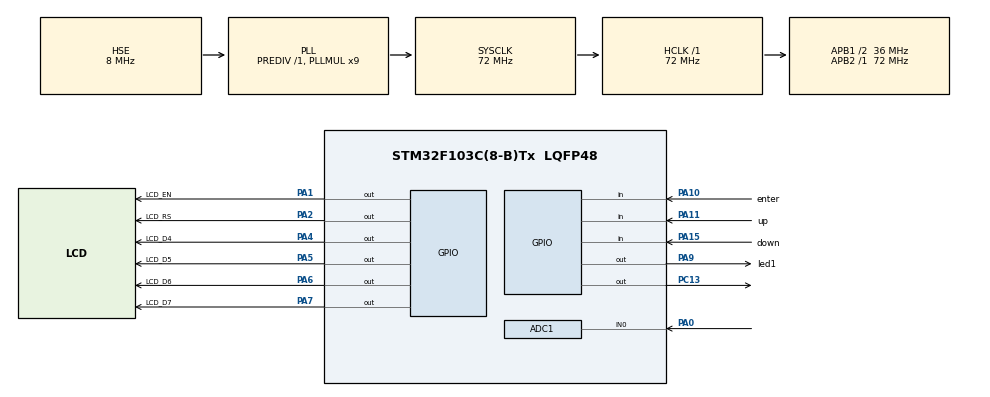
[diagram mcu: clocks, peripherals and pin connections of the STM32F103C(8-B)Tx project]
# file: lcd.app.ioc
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ADC1.Channel-0\#ChannelRegularConversion=ADC_CHANNEL_0
ADC1.ContinuousConvMode=ENABLE
ADC1.NbrOfConversionFlag=1
ADC1.Rank-0\#ChannelRegularConversion=1
ADC1.SamplingTime-0\#ChannelRegularConversion=ADC_SAMPLETIME_1CYCLE_5
ADC1.master=1
Mcu.Family=STM32F1
Mcu.Name=STM32F103C(8-B)Tx
Mcu.Package=LQFP48
NVIC.PriorityGroup=NVIC_PRIORITYGROUP_4
NVIC.TIM1_UP_IRQn=true\:0\:0\:false\:false\:true\:true\:true
PA0-WKUP.Signal=ADCx_IN0
PA1.GPIO_Label=LCD_EN
PA1.Signal=GPIO_Output
PA10.GPIO_Label=enter
PA10.GPIO_PuPd=GPIO_PULLDOWN
PA10.Signal=GPIO_Input
PA11.GPIO_Label=up
PA11.GPIO_PuPd=GPIO_PULLDOWN
PA11.Signal=GPIO_Input
PA13.Mode=Serial_Wire
PA13.Signal=SYS_JTMS-SWDIO
PA14.Mode=Serial_Wire
PA14.Signal=SYS_JTCK-SWCLK
PA15.GPIO_Label=down
PA15.GPIO_PuPd=GPIO_PULLDOWN
PA15.Signal=GPIO_Input
PA2.GPIO_Label=LCD_RS
PA2.Signal=GPIO_Output
PA4.GPIO_Label=LCD_D4
PA4.Signal=GPIO_Output
PA5.GPIO_Label=LCD_D5
PA5.Signal=GPIO_Output
PA6.GPIO_Label=LCD_D6
PA6.Signal=GPIO_Output
PA7.GPIO_Label=LCD_D7
PA7.Signal=GPIO_Output
PA9.GPIO_Label=led1
PA9.Signal=GPIO_Output
PC13-TAMPER-RTC.Signal=GPIO_Output
PD0-OSC_IN.Mode=HSE-External-Oscillator
PD0-OSC_IN.Signal=RCC_OSC_IN
PD1-OSC_OUT.Mode=HSE-External-Oscillator
PD1-OSC_OUT.Signal=RCC_OSC_OUT
ProjectManager.HeapSize=0x200
ProjectManager.StackSize=0x400
ProjectManager.TargetToolchain=STM32CubeIDE
RCC.ADCPresc=RCC_ADCPCLK2_DIV6
RCC.AHBFreq_Value=72000000
RCC.APB1CLKDivider=RCC_HCLK_DIV2
RCC.APB1Freq_Value=36000000
RCC.APB1TimFreq_Value=72000000
RCC.APB2Freq_Value=72000000
RCC.APB2TimFreq_Value=72000000
RCC.HCLKFreq_Value=72000000
RCC.PLLMUL=RCC_PLL_MUL9
RCC.PLLSourceVirtual=RCC_PLLSOURCE_HSE
RCC.SYSCLKFreq_VALUE=72000000
RCC.SYSCLKSource=RCC_SYSCLKSOURCE_PLLCLK
RCC.USBFreq_Value=72000000
SH.ADCx_IN0.0=ADC1_IN0,IN0
TIM1.Period=9999
TIM1.Prescaler=3599
VP_TIM1_VS_ClockSourceINT.Mode=Internal
board=custom

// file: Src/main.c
/* USER CODE BEGIN Header */
/**
  ******************************************************************************
  * @file           : main.c
  * @brief          : Main program body
  ******************************************************************************
  * @attention
  *
  * <h2><center>&copy; Copyright (c) 2019 STMicroelectronics.
  * All rights reserved.</center></h2>
  *
  * This software component is licensed by ST under BSD 3-Clause license,
  * the "License"; You may not use this file except in compliance with the
  * License. You may obtain a copy of the License at:
  *                        opensource.org/licenses/BSD-3-Clause
  *
  ******************************************************************************
  */
/* USER CODE END Header */

#include "main.h"

/* USER CODE BEGIN Includes */
#include "i2c-lcd.h"
#include "stm32f1xx_hal_flash.h"

/* USER CODE END Includes */

ADC_HandleTypeDef hadc1;

TIM_HandleTypeDef htim1;

void SystemClock_Config(void);
static void MX_GPIO_Init(void);
static void MX_ADC1_Init(void);
static void MX_TIM1_Init(void);
/* USER CODE BEGIN PFP */
#include "lcd.h"

uint32_t Flash_Read(uint32_t Flash_Address);
void Flash_Write(uint32_t Flash_Address, uint32_t Flash_Data);
/* USER CODE END PFP */

/* USER CODE BEGIN 0 */
uint32_t ticksNextBlink = 0;
uint32_t ticksForBlink = 1000;

int8_t enter(){ return HAL_GPIO_ReadPin(GPIOA, GPIO_PIN_10); }
int8_t up(){ return HAL_GPIO_ReadPin(GPIOA, GPIO_PIN_11); }
int8_t down(){ return HAL_GPIO_ReadPin(GPIOA, GPIO_PIN_12); }

uint32_t adc2 = 0;
uint32_t adc3 = 0;
char adc2deger[16] = "  ";
char adc3char1[16] = "  ";
char adc3char2[16] = "  ";
char adc3char3[16] = "  ";
char adc3char4[16] = "  ";
char sondeger[16] = "  ";
uint32_t ledim = 0;
uint32_t stabilledim = 0;
uint16_t bekleme[3];
uint16_t deger = 0;

uint32_t flashoku;
/* USER CODE END 0 */

int main(void)
{
  /* USER CODE BEGIN 1 */
	uint8_t a = 1;
	uint8_t b = 0;
	uint8_t adc3deger1;
	uint8_t adc3deger2;
	uint8_t adc3deger3;
	uint8_t adc3deger4;
  /* USER CODE END 1 */

  /* MCU Configuration--------------------------------------------------------*/

  /* Reset of all peripherals, Initializes the Flash interface and the Systick. */
  HAL_Init();

  /* Configure the system clock */
  SystemClock_Config();

  /* Initialize all configured peripherals */
  MX_GPIO_Init();
  MX_ADC1_Init();
  MX_TIM1_Init();
  /* USER CODE BEGIN 2 */

  //Flash_Write(0x08003400, deger);
  HAL_TIM_Base_Start_IT(&htim1);

  lcd_init();

  HAL_ADC_Start(&hadc1);
  HAL_Delay(50);

  lcd_printf(1,1, " ALVEMSIS A.S. ");
  HAL_Delay(500);

  /* USER CODE END 2 */

  /* Infinite loop */
  /* USER CODE BEGIN WHILE */
  while (1)
  {
	  //flashoku = Flash_Read(0x08003400);

	  /*if (HAL_GetTick() > ticksNextBlink)
	  	  {
	  	      ticksNextBlink = HAL_GetTick() + ticksForBlink;
	  	  	  HAL_GPIO_WritePin(GPIOC, GPIO_PIN_13, !HAL_GPIO_ReadPin(GPIOC, GPIO_PIN_13));
	  	  }*/

	  HAL_Delay(2);

	      if(HAL_GPIO_ReadPin(GPIOA, GPIO_PIN_15) != 0)  //down
	      {
	      	a++;

	      	if(a == 7)//ana menü alt
	      	{
	      		a = 6;
	      	}
	      	if(a == 23)//led ayar alt
	      	{
	      		a = 22;
	      	}
	      	if(a == 52)//led ayar üst
	      	{
	      		a = 51;
	      	}
	      	if(a == 86)//led el ayar üst
	      	{
	      		a = 85;
	      	}
	      }

	      if(HAL_GPIO_ReadPin(GPIOA, GPIO_PIN_11))  //up
	      {
	      	a--;

	      	if(a == 0)//ana menü üst
	      	{
	      		a = 1;
	      	}
	      	if(a == 19)//led ayar üst
	      	{
	      		a = 20;
	      	}
	      	if(a == 49)//led ayar üst
	      	{
	      		a = 50;
	      	}
	      	if(a == 79)//led el ayar üst
	      	{
	      		a = 80;
	      	}

	      }

      	  if(HAL_GPIO_ReadPin(GPIOA, GPIO_PIN_10))  //enter
      	  {
      		  if(a == 1)
      		  {
      			  a = 20;  //1.alt menü
      		  }
      		  if(a == 2)
      		  {
      			  a = 50;  //2.alt menü
      		  }
      		  if(a == 3)
      		  {
      			  a = 80;  //3.alt menü
      		  }
      		  if(a == 4)
      		  {
      			  //a = 110; //4.alt menü
      		  }
      		  if(a == 5)
      		  {
      			  //a = 140; //5.alt menü
      		  }
      		  if(a == 6)
      		  {
      			  //a = 170; //6.alt menü
      		  }

      	  }

/*---------------------------ana menü---------------------------*/

	      	  if(a == 0)//ana menü üst
	      	  {
	      		  a = 1;
	      	  }

	      	  if(a == 1)
			  {
				  lcd_printf(1,1, ">1.Led Ayari    ");
				  lcd_printf(2,1, " 2.ADC izle     ");
			  }

			  if(a == 2)
			  {
				  lcd_printf(1,1, " 1.Led Ayari    ");
				  lcd_printf(2,1, ">2.ADC izle     ");
			  }

			  if(a == 3)
			  {
				  lcd_printf(1,1, ">3.El ile ADC   ");
				  lcd_printf(2,1, " 4.Wifi         ");
			  }

			  if(a == 4)
			  {
				  lcd_printf(1,1, " 3.El ile ADC   ");
				  lcd_printf(2,1, ">4.Wifi         ");
			  }

			  if(a == 5)
			  {
				  lcd_printf(1,1, ">5.Genel Ayarlar");
				  lcd_printf(2,1, " 6.İsimler      ");
			  }

			  if(a == 6)
			  {
				  lcd_printf(1,1, " 5.Genel Ayarlar");
				  lcd_printf(2,1, ">6.İsimler      ");
			  }
/*---------------------------ana menü---------------------------*/
/*---------------------------led ayar---------------------------*/
			  if(a == 20)
			  {
				  lcd_printf(1,1,">AC              ");
				  lcd_printf(2,1," KAPAT           ");

				  if(HAL_GPIO_ReadPin(GPIOA, GPIO_PIN_10))
				  {
					  HAL_GPIO_WritePin(GPIOA, GPIO_PIN_9, GPIO_PIN_SET);
				  }
			  }

			  if(a == 21)
			  {
				  lcd_printf(1,1," AC              ");
				  lcd_printf(2,1,">KAPAT           ");

				  if(HAL_GPIO_ReadPin(GPIOA, GPIO_PIN_10))
				  {
					  HAL_GPIO_WritePin(GPIOA, GPIO_PIN_9, GPIO_PIN_RESET);
					  b = 0;
				  }
			  }

			  if(a == 22)
			  {
				  lcd_printf(1,1,">GERI              ");
				  lcd_printf(2,1,"                   ");

				  if(HAL_GPIO_ReadPin(GPIOA, GPIO_PIN_10))
				  {
					  a = 0;
				  }
			  }

			  if(b == 2) //led yanma süresi stabil kalsın diye
			  {
				  if (HAL_GetTick() > ledim)
				  	  {
				  	      ledim = HAL_GetTick() + adc2;
				  	  	  HAL_GPIO_WritePin(GPIOA, GPIO_PIN_9, !HAL_GPIO_ReadPin(GPIOA, GPIO_PIN_9));
				  	  }
			  }

			  if(b == 3) //led el ile yanma süresi stabil kalsın diye
			  {
				  if (HAL_GetTick() > ledim)
				  	  {
				  	      ledim = HAL_GetTick() + deger;
				  	  	  HAL_GPIO_WritePin(GPIOA, GPIO_PIN_9, !HAL_GPIO_ReadPin(GPIOA, GPIO_PIN_9));
				  	  }
			  }
/*---------------------------led ayar---------------------------*/
/*---------------------------ADC izle---------------------------*/

			  if(a == 50)
			  {
				  adc2 = HAL_ADC_GetValue(&hadc1);

				  sprintf(adc2deger, "%u    ", adc2);

				  lcd_printf(1,1,">ADC Deger:     ");
				  lcd_printf(1,12, adc2deger);
				  lcd_printf(2,1," GERI           ");

					  if(HAL_GPIO_ReadPin(GPIOA, GPIO_PIN_10))
					  {
						  b = 1;

						  if (HAL_GetTick() > ledim)
						  	  {
						  	      ledim = HAL_GetTick() + adc2;
						  	  	  HAL_GPIO_WritePin(GPIOA, GPIO_PIN_9, !HAL_GPIO_ReadPin(GPIOA, GPIO_PIN_9));
						  	  }
					  }
				  b = 2; //led yanma süresi stabil kalsın diye
			  }

			  if(a == 51)
			  {
				  sprintf(adc2deger, "%u    ", adc2);

				  lcd_printf(1,1," ADC Deger:     ");
				  lcd_printf(1,12, adc2deger);
				  lcd_printf(2,1,">GERI           ");

				  if(HAL_GPIO_ReadPin(GPIOA, GPIO_PIN_10))
				  {
					  a = 0;
				  }
			  }
/*---------------------------ADC izle---------------------------*/
/*------------------------ADC el ile Ayar-----------------------*/
			  if(a == 80)
			  {
				  adc2 = HAL_ADC_GetValue(&hadc1);

				  sprintf(adc2deger, "%u    ", adc2);
			  	  lcd_printf(1,1,"ADC Deger Ayar  ");
			  	  lcd_printf(2,11, sondeger);
			  	  lcd_printf(2,1,"OK ");
			  }
			  	  //1. basamak
			  	  if(a == 81)
				  {
					  HAL_GPIO_WritePin(GPIOA, GPIO_PIN_9, GPIO_PIN_RESET);
					  b = 0;
			  		  while(1)
			  		  {
					  adc2 = HAL_ADC_GetValue(&hadc1);

				  	  if(adc2 < 400 && adc2 > 0)
				  	  {
					  	  adc3deger1 = 0;
				  	  }
				  	  if(adc3 > 400 && adc2 < 800)
				  	  {
					  	  adc3deger1 = 1;
				  	  }
				  	  if(adc2 > 800 && adc2 < 1200)
				  	  {
					  	  adc3deger1 = 2;
				  	  }
				  	  if(adc2 > 1200 && adc2 < 1600)
				  	  {
					  	  adc3deger1 = 3;
				  	  }
				  	  if(adc2 > 1600 && adc2 < 2000)
				  	  {
					  	  adc3deger1 = 4;
				  	  }
				  	  if(adc2 > 2000 && adc2 < 2400)
				  	  {
					  	  adc3deger1 = 5;
				  	  }
				  	  if(adc2 > 2400 && adc2 < 2800)
				  	  {
					  	  adc3deger1 = 6;
				  	  }
				  	  if(adc2 > 2800 && adc2 < 3200)
				  	  {
					  	  adc3deger1 = 7;
				  	  }
				  	  if(adc2 > 3200 && adc2 < 3600)
				  	  {
					  	  adc3deger1 = 8;
				  	  }
				  	  if(adc2 > 3600 && adc2 < 4200)
				  	  {
					  	  adc3deger1 = 9;
				  	  }

				  	  sprintf(adc3char1, "%u", adc3deger1);

				  	  bekleme[3] = adc3deger1 * 1000;

				  	  lcd_printf(1,1,"ADC Deger Ayar  ");
				  	  lcd_printf(2,11, adc3char1);
				  	  lcd_printf(2,1,"OK -->  ");
				  	  //lcd_printf(2,12, adc3char1);
				  	  if(HAL_GPIO_ReadPin(GPIOA, GPIO_PIN_15))
				  	  {
				  		  break;
				  	  }
				      if(HAL_GPIO_ReadPin(GPIOA, GPIO_PIN_11))
				  	  {
				  		  break;
				  	  }
			  		  }
				  }

				  //2. basamak
			  	  if(a == 82)
				  {
			  		  while(1)
			  		  {
					  adc2 = HAL_ADC_GetValue(&hadc1);

				  	  if(adc2 < 400 && adc2 > 0)
				  	  {
					  	  adc3deger2 = 0;
				  	  }
				  	  if(adc2 > 400 && adc2 < 800)
				  	  {
					  	  adc3deger2 = 1;
				  	  }
				  	  if(adc2 > 800 && adc2 < 1200)
				  	  {
					  	  adc3deger2 = 2;
				  	  }
				  	  if(adc2 > 1200 && adc2 < 1600)
				  	  {
					  	  adc3deger2 = 3;
				  	  }
				  	  if(adc2 > 1600 && adc2 < 2000)
				  	  {
					  	  adc3deger2 = 4;
				  	  }
				  	  if(adc2 > 2000 && adc2 < 2400)
				  	  {
					  	  adc3deger2 = 5;
				  	  }
				  	  if(adc2 > 2400 && adc2 < 2800)
				  	  {
					  	  adc3deger2 = 6;
				  	  }
				  	  if(adc2 > 2800 && adc2 < 3200)
				  	  {
					  	  adc3deger2 = 7;
				  	  }
				  	  if(adc2 > 3200 && adc2 < 3600)
				  	  {
					  	  adc3deger2 = 8;
				  	  }
				  	  if(adc2 > 3600 && adc2 < 4200)
				  	  {
					  	  adc3deger2 = 9;
				  	  }

				  	  sprintf(adc3char2, "%u", adc3deger2);

				  	  bekleme[2] = adc3deger2 * 100;
				  	  lcd_printf(2,11, adc3char1);
				  	  lcd_printf(1,1,"ADC Deger Ayar  ");
				  	  lcd_printf(2,12, adc3char2);
				  	  lcd_printf(2,1,"OK -->  ");

				  	  if(HAL_GPIO_ReadPin(GPIOA, GPIO_PIN_15))
				  	  {
				  		  break;
				  	  }
				      if(HAL_GPIO_ReadPin(GPIOA, GPIO_PIN_11))
				  	  {
				  		  break;
				  	  }
			  		  }
				  }

				  //3. basamak
			  	  if(a == 83)
				  {
			  		  while(1)
			  		  {
					  adc2 = HAL_ADC_GetValue(&hadc1);

				  	  if(adc2 < 400 && adc2 > 0)
				  	  {
					  	  adc3deger3 = 0;
				  	  }
				  	  if(adc2 > 400 && adc2 < 800)
				  	  {
					  	  adc3deger3 = 1;
				  	  }
				  	  if(adc2 > 800 && adc2 < 1200)
				  	  {
					  	  adc3deger3 = 2;
				  	  }
				  	  if(adc2 > 1200 && adc2 < 1600)
				  	  {
					  	  adc3deger3 = 3;
				  	  }
				  	  if(adc2 > 1600 && adc2 < 2000)
				  	  {
					  	  adc3deger3 = 4;
				  	  }
				  	  if(adc2 > 2000 && adc2 < 2400)
				  	  {
					  	  adc3deger3 = 5;
				  	  }
				  	  if(adc2 > 2400 && adc2 < 2800)
				  	  {
					  	  adc3deger3 = 6;
				  	  }
				  	  if(adc2 > 2800 && adc2 < 3200)
				  	  {
					  	  adc3deger3 = 7;
				  	  }
				  	  if(adc2 > 3200 && adc2 < 3600)
				  	  {
					  	  adc3deger3 = 8;
				  	  }
				  	  if(adc2 > 3600 && adc2 < 4200)
				  	  {
					  	  adc3deger3 = 9;
				  	  }

				  	  sprintf(adc3char3, "%u", adc3deger3);

				  	  bekleme[1] = adc3deger3 * 10;
				  	  lcd_printf(2,11, adc3char1);
				  	  lcd_printf(2,12, adc3char2);
				  	  lcd_printf(1,1,"ADC Deger Ayar  ");
				  	  lcd_printf(2,13, adc3char3);
				  	  lcd_printf(2,1,"OK --> ");

				  	  if(HAL_GPIO_ReadPin(GPIOA, GPIO_PIN_15))
				  	  {
				  		  break;
				  	  }
				      if(HAL_GPIO_ReadPin(GPIOA, GPIO_PIN_11))
				  	  {
				  		  break;
				  	  }
			  		  }
				  }

				  //4. basamak
			  	  if(a == 84)
				  {
			  		  while(1)
			  		  {
					  //a = 93;
					  adc2 = HAL_ADC_GetValue(&hadc1);

				  	  if(adc2 < 400 && adc2 > 0)
				  	  {
					  	  adc3deger4 = 0;
				  	  }
				  	  if(adc2 > 400 && adc2 < 800)
				  	  {
					  	  adc3deger4 = 1;
				  	  }
				  	  if(adc2 > 800 && adc2 < 1200)
				  	  {
					  	  adc3deger4 = 2;
				  	  }
				  	  if(adc2 > 1200 && adc2 < 1600)
				  	  {
					  	  adc3deger4 = 3;
				  	  }
				  	  if(adc2 > 1600 && adc2 < 2000)
				  	  {
					  	  adc3deger4 = 4;
				  	  }
				  	  if(adc2 > 2000 && adc2 < 2400)
				  	  {
					  	  adc3deger4 = 5;
				  	  }
				  	  if(adc2 > 2400 && adc2 < 2800)
				  	  {
					  	  adc3deger4 = 6;
				  	  }
				  	  if(adc2 > 2800 && adc2 < 3200)
				  	  {
					  	  adc3deger4 = 7;
				  	  }
				  	  if(adc2 > 3200 && adc2 < 3600)
				  	  {
					  	  adc3deger4 = 8;
				  	  }
				  	  if(adc2 > 3600 && adc2 < 4200)
				  	  {
					  	  adc3deger4 = 9;
				  	  }

				  	  sprintf(adc3char4, "%u", adc3deger4);

				  	  bekleme[0] = adc3deger4;
				  	  lcd_printf(2,11, adc3char1);
				  	  lcd_printf(2,12, adc3char2);
				  	  lcd_printf(2,13, adc3char3);
				  	  lcd_printf(1,1,"ADC Deger Ayar  ");
				  	  lcd_printf(2,14, adc3char4);
				  	  lcd_printf(2,1,"OK --> ");

				  	  if(HAL_GPIO_ReadPin(GPIOA, GPIO_PIN_15))
				  	  {
				  		  break;
				  	  }
				      if(HAL_GPIO_ReadPin(GPIOA, GPIO_PIN_11))
				  	  {
				  		  break;
				  	  }
			  		  }
				  }
			  	  /*adc3deger1 = 0;
			  	  adc3deger2 = 0;
			  	  adc3deger3 = 0;
			  	  adc3deger4 = 0;*/

				  if(a == 85)
				  {
					  deger = bekleme[0] + bekleme[1] + bekleme[2] + bekleme[3];

				  	  sprintf(sondeger, "%u", deger);

					  lcd_printf(1,1,">GERI           ");
					  lcd_printf(2,1,"                ");
				  	  lcd_printf(2,12, sondeger);

					  b = 3;

					  if (HAL_GetTick() > ledim)
					  	  {
					  	      ledim = HAL_GetTick() + deger;
					  	  	  HAL_GPIO_WritePin(GPIOA, GPIO_PIN_9, !HAL_GPIO_ReadPin(GPIOA, GPIO_PIN_9));
					  	  }

					  if(HAL_GPIO_ReadPin(GPIOA, GPIO_PIN_10))
					  {
						  a = 0;
					  }
				  }

				  }
/*------------------------ADC el ile Ayar-----------------------*/
    /* USER CODE END WHILE */

}

void HAL_TIM_PeriodElapsedCallback(TIM_HandleTypeDef *htim)
{
	if(TIM1 == htim -> Instance)
	{
		HAL_GPIO_TogglePin(GPIOA, GPIO_PIN_9);
	}
}

void SystemClock_Config(void)
{
  RCC_OscInitTypeDef RCC_OscInitStruct = {0};
  RCC_ClkInitTypeDef RCC_ClkInitStruct = {0};
  RCC_PeriphCLKInitTypeDef PeriphClkInit = {0};

  /** Initializes the CPU, AHB and APB busses clocks
  */
  RCC_OscInitStruct.OscillatorType = RCC_OSCILLATORTYPE_HSE;
  RCC_OscInitStruct.HSEState = RCC_HSE_ON;
  RCC_OscInitStruct.HSEPredivValue = RCC_HSE_PREDIV_DIV1;
  RCC_OscInitStruct.HSIState = RCC_HSI_ON;
  RCC_OscInitStruct.PLL.PLLState = RCC_PLL_ON;
  RCC_OscInitStruct.PLL.PLLSource = RCC_PLLSOURCE_HSE;
  RCC_OscInitStruct.PLL.PLLMUL = RCC_PLL_MUL9;
  if (HAL_RCC_OscConfig(&RCC_OscInitStruct) != HAL_OK)
  {
    Error_Handler();
  }
  /** Initializes the CPU, AHB and APB busses clocks
  */
  RCC_ClkInitStruct.ClockType = RCC_CLOCKTYPE_HCLK|RCC_CLOCKTYPE_SYSCLK
                              |RCC_CLOCKTYPE_PCLK1|RCC_CLOCKTYPE_PCLK2;
  RCC_ClkInitStruct.SYSCLKSource = RCC_SYSCLKSOURCE_PLLCLK;
  RCC_ClkInitStruct.AHBCLKDivider = RCC_SYSCLK_DIV1;
  RCC_ClkInitStruct.APB1CLKDivider = RCC_HCLK_DIV2;
  RCC_ClkInitStruct.APB2CLKDivider = RCC_HCLK_DIV1;

  if (HAL_RCC_ClockConfig(&RCC_ClkInitStruct, FLASH_LATENCY_2) != HAL_OK)
  {
    Error_Handler();
  }
  PeriphClkInit.PeriphClockSelection = RCC_PERIPHCLK_ADC;
  PeriphClkInit.AdcClockSelection = RCC_ADCPCLK2_DIV6;
  if (HAL_RCCEx_PeriphCLKConfig(&PeriphClkInit) != HAL_OK)
  {
    Error_Handler();
  }
}

static void MX_ADC1_Init(void)
{

  ADC_ChannelConfTypeDef sConfig = {0};

  /** Common config
  */
  hadc1.Instance = ADC1;
  hadc1.Init.ScanConvMode = ADC_SCAN_DISABLE;
  hadc1.Init.ContinuousConvMode = ENABLE;
  hadc1.Init.DiscontinuousConvMode = DISABLE;
  hadc1.Init.ExternalTrigConv = ADC_SOFTWARE_START;
  hadc1.Init.DataAlign = ADC_DATAALIGN_RIGHT;
  hadc1.Init.NbrOfConversion = 1;
  if (HAL_ADC_Init(&hadc1) != HAL_OK)
  {
    Error_Handler();
  }
  /** Configure Regular Channel
  */
  sConfig.Channel = ADC_CHANNEL_0;
  sConfig.Rank = ADC_REGULAR_RANK_1;
  sConfig.SamplingTime = ADC_SAMPLETIME_1CYCLE_5;
  if (HAL_ADC_ConfigChannel(&hadc1, &sConfig) != HAL_OK)
  {
    Error_Handler();
  }

}

static void MX_TIM1_Init(void)
{

  TIM_ClockConfigTypeDef sClockSourceConfig = {0};
  TIM_MasterConfigTypeDef sMasterConfig = {0};

  htim1.Instance = TIM1;
  htim1.Init.Prescaler = 10799;//3599;
  htim1.Init.CounterMode = TIM_COUNTERMODE_UP;
  htim1.Init.Period = 9999;
  htim1.Init.ClockDivision = TIM_CLOCKDIVISION_DIV1;
  htim1.Init.RepetitionCounter = 0;
  htim1.Init.AutoReloadPreload = TIM_AUTORELOAD_PRELOAD_DISABLE;
  if (HAL_TIM_Base_Init(&htim1) != HAL_OK)
  {
    Error_Handler();
  }
  sClockSourceConfig.ClockSource = TIM_CLOCKSOURCE_INTERNAL;
  if (HAL_TIM_ConfigClockSource(&htim1, &sClockSourceConfig) != HAL_OK)
  {
    Error_Handler();
  }
  sMasterConfig.MasterOutputTrigger = TIM_TRGO_RESET;
  sMasterConfig.MasterSlaveMode = TIM_MASTERSLAVEMODE_DISABLE;
  if (HAL_TIMEx_MasterConfigSynchronization(&htim1, &sMasterConfig) != HAL_OK)
  {
    Error_Handler();
  }

}

static void MX_GPIO_Init(void)
{
  GPIO_InitTypeDef GPIO_InitStruct = {0};

  /* GPIO Ports Clock Enable */
  __HAL_RCC_GPIOC_CLK_ENABLE();
  __HAL_RCC_GPIOD_CLK_ENABLE();
  __HAL_RCC_GPIOA_CLK_ENABLE();

  /*Configure GPIO pin Output Level */
  HAL_GPIO_WritePin(GPIOC, GPIO_PIN_13, GPIO_PIN_RESET);

  /*Configure GPIO pin Output Level */
  HAL_GPIO_WritePin(GPIOA, LCD_EN_Pin|LCD_RS_Pin|LCD_D4_Pin|LCD_D5_Pin
                          |LCD_D6_Pin|LCD_D7_Pin|led1_Pin, GPIO_PIN_RESET);

  /*Configure GPIO pin : PC13 */
  GPIO_InitStruct.Pin = GPIO_PIN_13;
  GPIO_InitStruct.Mode = GPIO_MODE_OUTPUT_PP;
  GPIO_InitStruct.Pull = GPIO_NOPULL;
  GPIO_InitStruct.Speed = GPIO_SPEED_FREQ_LOW;
  HAL_GPIO_Init(GPIOC, &GPIO_InitStruct);

  /*Configure GPIO pins : LCD_EN_Pin LCD_RS_Pin LCD_D4_Pin LCD_D5_Pin
                           LCD_D6_Pin LCD_D7_Pin led1_Pin */
  GPIO_InitStruct.Pin = LCD_EN_Pin|LCD_RS_Pin|LCD_D4_Pin|LCD_D5_Pin
                          |LCD_D6_Pin|LCD_D7_Pin|led1_Pin;
  GPIO_InitStruct.Mode = GPIO_MODE_OUTPUT_PP;
  GPIO_InitStruct.Pull = GPIO_NOPULL;
  GPIO_InitStruct.Speed = GPIO_SPEED_FREQ_LOW;
  HAL_GPIO_Init(GPIOA, &GPIO_InitStruct);

  /*Configure GPIO pins : enter_Pin up_Pin down_Pin */
  GPIO_InitStruct.Pin = enter_Pin|up_Pin|down_Pin;
  GPIO_InitStruct.Mode = GPIO_MODE_INPUT;
  GPIO_InitStruct.Pull = GPIO_PULLDOWN;
  HAL_GPIO_Init(GPIOA, &GPIO_InitStruct);

}

/* USER CODE BEGIN 4 */
void Flash_Write(uint32_t Flash_Address, uint32_t Flash_Data)
{
	HAL_FLASH_Unlock();
	FLASH_PageErase(Flash_Address);
	//FLASH_Erase_Sector(FLASH_SECTOR_11, VOLTAGE_RANGE_3);
	HAL_FLASH_Program(FLASH_TYPEPROGRAM_WORD, Flash_Address, Flash_Data);
	HAL_FLASH_Lock();
}

uint32_t Flash_Read(uint32_t Flash_Address)
{
	uint32_t Flash_Data;
	Flash_Data = *(uint32_t*) Flash_Address;
	return Flash_Data;
}
/* USER CODE END 4 */

void Error_Handler(void)
{
}

/************************ (C) COPYRIGHT STMicroelectronics *****END OF FILE****/
